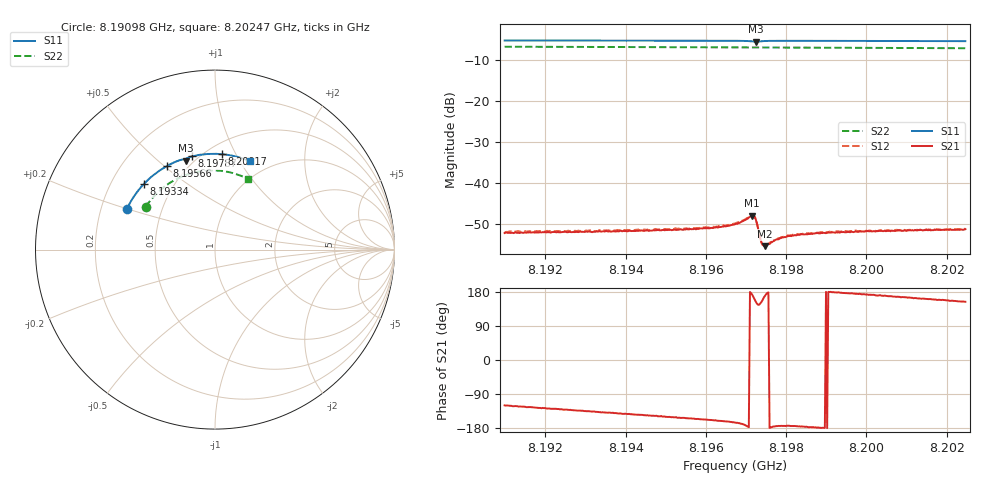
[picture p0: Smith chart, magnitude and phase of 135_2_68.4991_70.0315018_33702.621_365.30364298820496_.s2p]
#  HZ  S  RI  R  50.00
! Rohde & Schwarz Vector Network Analyzer
! Rohde-Schwarz,ZNB20-2Port,1311601062101988,3.16
! Created: UTC 3/20/2024, 4:54:38 PM
! freq[Hz]  re:S11  im:S11  re:S21  im:S21  re:S12  im:S12  re:S22  im:S22
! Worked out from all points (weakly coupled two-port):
!   401 points, 8.19098 GHz to 8.20247 GHz, reference 50 ohm
!   highest |S21| = -48.06 dB at 8.19715 GHz (marker M1); lowest = -55.5 dB at 8.19747 GHz (marker M2)
!   lowest |S11| = -5.6 dB at 8.19724 GHz (marker M3), VSWR 3.19, Z = 22.8 + j31.1 ohm
!   |S11| at or under -10 dB: nowhere
!   |S22| runs from -7.2 to -6.9 dB; largest |S21 - S12| = 0.0002
!   S11 on the Smith chart (normalised r, x): 8.19098 GHz: 0.31, +0.20; 8.19334 GHz: 0.34, +0.35; 8.19566 GHz: 0.39, +0.51; 8.19787 GHz: 0.46, +0.67; 8.20017 GHz: 0.59, +0.88; 8.20247 GHz: 0.80, +1.10
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8.190982e9  -0.4898 0.2289  -0.0012 -0.00211  -0.00129 -0.00212  -0.3854 0.2387
8.192906e9  -0.417 0.3424  -0.00174 -0.00181  -0.00185 -0.00179  -0.3169 0.3205
8.193336e9  -0.3968 0.3651  -0.00188 -0.00172  -0.00197 -0.00173  -0.2992 0.3366
8.194829e9  -0.3178 0.4343  -0.00224 -0.00137  -0.00232 -0.00134  -0.231 0.384
8.195662e9  -0.2681 0.4658  -0.00244 -0.00116  -0.00254 -0.00109  -0.1893 0.4047
8.196236e9  -0.2313 0.4842  -0.00264 -0.00102  -0.00273 -0.000908  -0.1593 0.4166
8.196724e9  -0.198 0.4978  -0.003 -0.000795  -0.00309 -0.0007  -0.1333 0.4248
8.196896e9  -0.1852 0.5014  -0.00328 -0.000665  -0.00338 -0.000538  -0.124 0.4273
8.197155e9  -0.1641 0.5006  -0.00391 0.000555  -0.00397 0.000748  -0.1096 0.4306
8.197212e9  -0.162 0.4974  -0.00356 0.00129  -0.00359 0.00148  -0.1066 0.4311
8.197241e9  -0.1624 0.4964  -0.00321 0.00156  -0.00316 0.00171  -0.1052 0.4312
8.197356e9  -0.1637 0.5015  -0.00177 0.00105  -0.00175 0.00117  -0.099 0.4328
8.197384e9  -0.1626 0.5036  -0.00166 0.000826  -0.00164 0.000889  -0.0974 0.4332
8.197413e9  -0.1607 0.5056  -0.00163 0.000639  -0.00159 0.0007  -0.0958 0.4336
8.197471e9  -0.1569 0.5086  -0.00165 0.000309  -0.00167 0.000344  -0.0926 0.4342
8.197873e9  -0.1271 0.5197  -0.0021 -0.000231  -0.00214 -0.000176  -0.0702 0.4377
8.198217e9  -0.1023 0.5252  -0.00228 -0.000233  -0.00232 -0.000106  -0.0508 0.4398
8.198648e9  -0.0718 0.5298  -0.00236 -0.00011  -0.00238 -1.14e-06  -0.0264 0.4411
8.199251e9  -0.0289 0.5334  -0.00247 7.5e-05  -0.00253 0.000193  0.00757 0.4409
8.200169e9  0.0362 0.5318  -0.00253 0.000354  -0.00254 0.000503  0.0594 0.4352
8.200571e9  0.0645 0.5286  -0.00254 0.000524  -0.00251 0.000646  0.0818 0.4307
8.202466e9  0.1934 0.4936  -0.00242 0.0012  -0.0024 0.00131  0.1832 0.3941
